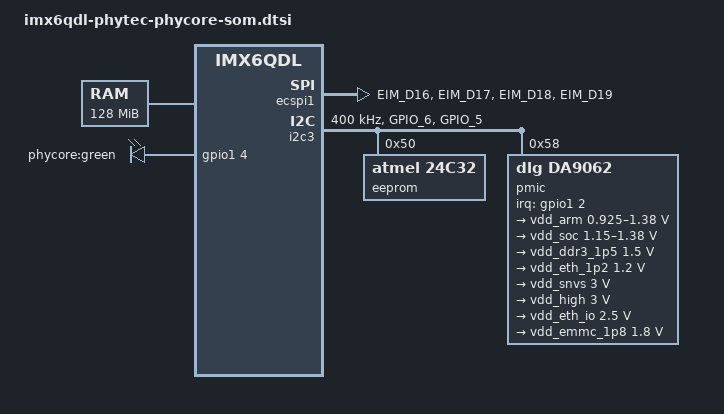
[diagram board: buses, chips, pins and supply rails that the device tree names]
// SPDX-License-Identifier: (GPL-2.0+ OR MIT)
/*
 * Copyright (C) 2018 PHYTEC Messtechnik GmbH
 * Author: Christian Hemp <c.hemp@phytec.de>
 */

#include <dt-bindings/gpio/gpio.h>
#include <dt-bindings/regulator/dlg,da9063-regulator.h>

/ {
	aliases {
		rtc1 = &da9062_rtc;
		rtc2 = &snvs_rtc;
	};

	/*
	 * Set the minimum memory size here and
	 * let the bootloader set the real size.
	 */
	memory@10000000 {
		device_type = "memory";
		reg = <0x10000000 0x8000000>;
	};

	gpio_leds_som: somleds {
		compatible = "gpio-leds";
		pinctrl-names = "default";
		pinctrl-0 = <&pinctrl_gpioleds_som>;

		som-led-green {
			label = "phycore:green";
			gpios = <&gpio1 4 GPIO_ACTIVE_HIGH>;
			linux,default-trigger = "heartbeat";
		};
	};
};

&ecspi1 {
	pinctrl-names = "default";
	pinctrl-0 = <&pinctrl_ecspi1>;
	cs-gpios = <&gpio3 19 GPIO_ACTIVE_LOW>;
	status = "okay";

	m25p80: flash@0 {
		compatible = "jedec,spi-nor";
		spi-max-frequency = <20000000>;
		reg = <0>;
		status = "disabled";
	};
};

&fec {
	pinctrl-names = "default";
	pinctrl-0 = <&pinctrl_enet>;
	phy-handle = <&ethphy>;
	phy-mode = "rgmii";
	phy-supply = <&vdd_eth_io>;
	phy-reset-gpios = <&gpio1 14 GPIO_ACTIVE_LOW>;
	status = "disabled";

	mdio {
		#address-cells = <1>;
		#size-cells = <0>;

		ethphy: ethernet-phy@3 {
			reg = <3>;
			txc-skew-ps = <1680>;
			rxc-skew-ps = <1860>;
		};
	};
};

&gpmi {
	pinctrl-names = "default";
	pinctrl-0 = <&pinctrl_gpmi_nand>;
	nand-on-flash-bbt;
	status = "disabled";
};

&i2c3 {
	pinctrl-names = "default";
	pinctrl-0 = <&pinctrl_i2c3>;
	clock-frequency = <400000>;
	status = "okay";

	eeprom@50 {
		compatible = "atmel,24c32";
		reg = <0x50>;
	};

	pmic: pmic@58 {
		compatible = "dlg,da9062";
		pinctrl-names = "default";
		pinctrl-0 = <&pinctrl_pmic>;
		reg = <0x58>;
		interrupt-parent = <&gpio1>;
		interrupts = <2 IRQ_TYPE_LEVEL_LOW>;
		interrupt-controller;
		gpio-controller;
		#gpio-cells = <2>;

		da9062_rtc: rtc {
			compatible = "dlg,da9062-rtc";
		};

		da9062_onkey: onkey {
			compatible = "dlg,da9062-onkey";
		};

		watchdog {
			compatible = "dlg,da9062-watchdog";
			dlg,use-sw-pm;
		};

		regulators {
			vdd_arm: buck1 {
				regulator-name = "vdd_arm";
				regulator-min-microvolt = <925000>;
				regulator-max-microvolt = <1380000>;
				regulator-initial-mode = <DA9063_BUCK_MODE_SYNC>;
				regulator-always-on;
			};

			vdd_soc: buck2 {
				regulator-name = "vdd_soc";
				regulator-min-microvolt = <1150000>;
				regulator-max-microvolt = <1380000>;
				regulator-initial-mode = <DA9063_BUCK_MODE_SYNC>;
				regulator-always-on;
			};

			vdd_ddr3_1p5: buck3 {
				regulator-name = "vdd_ddr3";
				regulator-min-microvolt = <1500000>;
				regulator-max-microvolt = <1500000>;
				regulator-initial-mode = <DA9063_BUCK_MODE_SYNC>;
				regulator-always-on;
			};

			vdd_eth_1p2: buck4 {
				regulator-name = "vdd_eth";
				regulator-min-microvolt = <1200000>;
				regulator-max-microvolt = <1200000>;
				regulator-initial-mode = <DA9063_BUCK_MODE_SYNC>;
				regulator-always-on;
			};

			vdd_snvs: ldo1 {
				regulator-name = "vdd_snvs";
				regulator-min-microvolt = <3000000>;
				regulator-max-microvolt = <3000000>;
				regulator-always-on;
			};

			vdd_high: ldo2 {
				regulator-name = "vdd_high";
				regulator-min-microvolt = <3000000>;
				regulator-max-microvolt = <3000000>;
				regulator-always-on;
			};

			vdd_eth_io: ldo3 {
				regulator-name = "vdd_eth_io";
				regulator-min-microvolt = <2500000>;
				regulator-max-microvolt = <2500000>;
			};

			vdd_emmc_1p8: ldo4 {
				regulator-name = "vdd_emmc";
				regulator-min-microvolt = <1800000>;
				regulator-max-microvolt = <1800000>;
			};
		};
	};
};

&reg_arm {
	vin-supply = <&vdd_arm>;
};

&reg_pu {
	vin-supply = <&vdd_soc>;
};

&reg_soc {
	vin-supply = <&vdd_soc>;
};

&snvs_poweroff {
	status = "okay";
};

&usdhc4 {
	pinctrl-names = "default";
	pinctrl-0 = <&pinctrl_usdhc4>;
	bus-width = <8>;
	non-removable;
	status = "disabled";
};

&iomuxc {
	pinctrl_enet: enetgrp {
		fsl,pins = <
			MX6QDL_PAD_ENET_MDIO__ENET_MDIO		0x1b0b0
			MX6QDL_PAD_ENET_MDC__ENET_MDC		0x1b0b0
			MX6QDL_PAD_RGMII_TXC__RGMII_TXC		0x1b0b0
			MX6QDL_PAD_RGMII_TD0__RGMII_TD0		0x1b0b0
			MX6QDL_PAD_RGMII_TD1__RGMII_TD1		0x1b0b0
			MX6QDL_PAD_RGMII_TD2__RGMII_TD2		0x1b0b0
			MX6QDL_PAD_RGMII_TD3__RGMII_TD3		0x1b0b0
			MX6QDL_PAD_RGMII_TX_CTL__RGMII_TX_CTL	0x1b0b0
			MX6QDL_PAD_ENET_REF_CLK__ENET_TX_CLK	0x1b0b0
			MX6QDL_PAD_RGMII_RXC__RGMII_RXC		0x1b0b0
			MX6QDL_PAD_RGMII_RD0__RGMII_RD0		0x1b0b0
			MX6QDL_PAD_RGMII_RD1__RGMII_RD1		0x1b0b0
			MX6QDL_PAD_RGMII_RD2__RGMII_RD2		0x1b0b0
			MX6QDL_PAD_RGMII_RD3__RGMII_RD3		0x1b0b0
			MX6QDL_PAD_RGMII_RX_CTL__RGMII_RX_CTL	0x1b0b0
			MX6QDL_PAD_ENET_TX_EN__ENET_TX_EN	0x1b0b0
			MX6QDL_PAD_SD2_DAT1__GPIO1_IO14		0x1b0b0
		>;
	};

	pinctrl_gpioleds_som: gpioledssomgrp {
		fsl,pins = <
			MX6QDL_PAD_GPIO_4__GPIO1_IO04		0x1b0b0
		>;
	};

	pinctrl_gpmi_nand: gpminandgrp {
		fsl,pins = <
			MX6QDL_PAD_NANDF_CLE__NAND_CLE		0xb0b1
			MX6QDL_PAD_NANDF_ALE__NAND_ALE		0xb0b1
			MX6QDL_PAD_NANDF_WP_B__NAND_WP_B	0xb0b1
			MX6QDL_PAD_NANDF_RB0__NAND_READY_B	0xb000
			MX6QDL_PAD_NANDF_CS0__NAND_CE0_B	0xb0b1
			MX6QDL_PAD_NANDF_CS1__NAND_CE1_B	0xb0b1
			MX6QDL_PAD_NANDF_CS2__NAND_CE2_B	0xb0b1
			MX6QDL_PAD_NANDF_CS3__NAND_CE3_B	0xb0b1
			MX6QDL_PAD_SD4_CMD__NAND_RE_B		0xb0b1
			MX6QDL_PAD_SD4_CLK__NAND_WE_B		0xb0b1
			MX6QDL_PAD_NANDF_D0__NAND_DATA00	0xb0b1
			MX6QDL_PAD_NANDF_D1__NAND_DATA01	0xb0b1
			MX6QDL_PAD_NANDF_D2__NAND_DATA02	0xb0b1
			MX6QDL_PAD_NANDF_D3__NAND_DATA03	0xb0b1
			MX6QDL_PAD_NANDF_D4__NAND_DATA04	0xb0b1
			MX6QDL_PAD_NANDF_D5__NAND_DATA05	0xb0b1
			MX6QDL_PAD_NANDF_D6__NAND_DATA06	0xb0b1
			MX6QDL_PAD_NANDF_D7__NAND_DATA07	0xb0b1
			MX6QDL_PAD_SD4_DAT0__NAND_DQS		0x00b1
		>;
	};

	pinctrl_i2c3: i2c3grp {
		fsl,pins = <
			MX6QDL_PAD_GPIO_6__I2C3_SDA		0x4001b8b1
			MX6QDL_PAD_GPIO_5__I2C3_SCL		0x4001b8b1
		>;
	};

	pinctrl_ecspi1: ecspi1grp {
		fsl,pins = <
			MX6QDL_PAD_EIM_D16__ECSPI1_SCLK		0x100b1
			MX6QDL_PAD_EIM_D17__ECSPI1_MISO		0x100b1
			MX6QDL_PAD_EIM_D18__ECSPI1_MOSI		0x100b1
			MX6QDL_PAD_EIM_D19__GPIO3_IO19		0x1b0b0
		>;
	};

	pinctrl_pmic: pmicgrp {
		fsl,pins = <
			MX6QDL_PAD_GPIO_2__GPIO1_IO02		0x1b0b0
		>;
	};

	pinctrl_usdhc4: usdhc4grp {
		fsl,pins = <
			MX6QDL_PAD_SD4_CMD__SD4_CMD		0x17059
			MX6QDL_PAD_SD4_CLK__SD4_CLK		0x10059
			MX6QDL_PAD_SD4_DAT0__SD4_DATA0		0x17059
			MX6QDL_PAD_SD4_DAT1__SD4_DATA1		0x17059
			MX6QDL_PAD_SD4_DAT2__SD4_DATA2		0x17059
			MX6QDL_PAD_SD4_DAT3__SD4_DATA3		0x17059
			MX6QDL_PAD_SD4_DAT4__SD4_DATA4		0x17059
			MX6QDL_PAD_SD4_DAT5__SD4_DATA5		0x17059
			MX6QDL_PAD_SD4_DAT6__SD4_DATA6		0x17059
			MX6QDL_PAD_SD4_DAT7__SD4_DATA7		0x17059
		>;
	};
};
